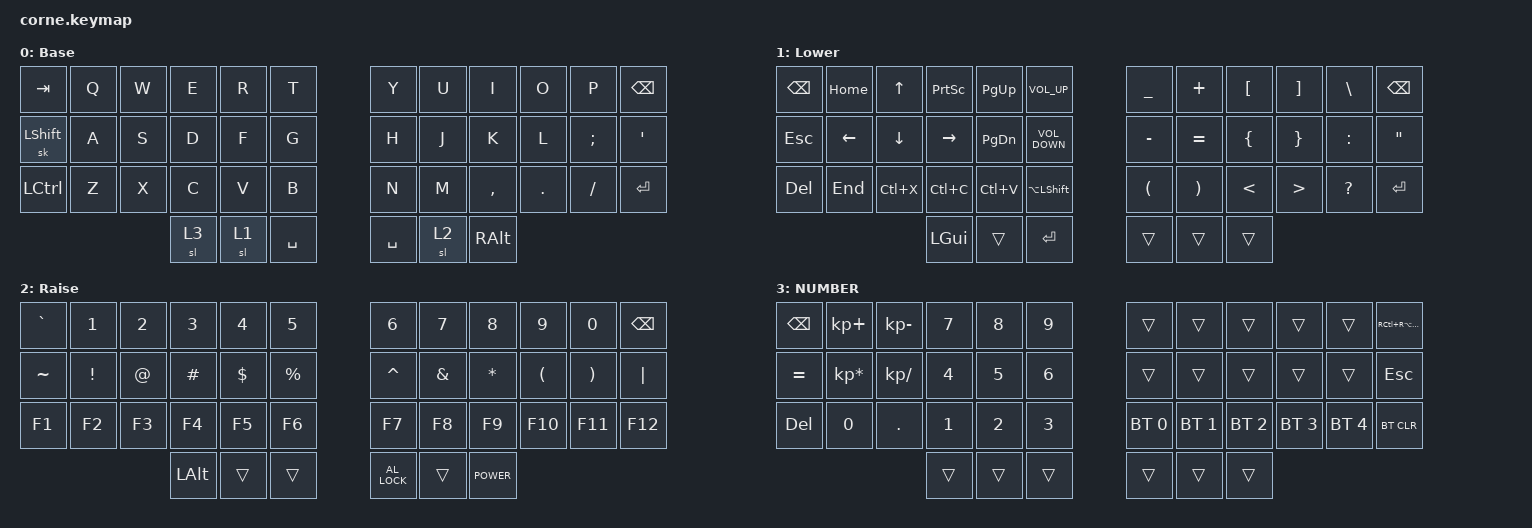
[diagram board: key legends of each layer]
/*
 * Copyright (c) 2020 The ZMK Contributors
 *
 * SPDX-License-Identifier: MIT
 */

#include <behaviors.dtsi>
#include <dt-bindings/zmk/bt.h>
#include <dt-bindings/zmk/keys.h>

/ {
    keymap {
        compatible = "zmk,keymap";

        DEFAULT {
            // -----------------------------------------------------------------------------------------
            // |  TAB |  Q  |  W  |  E  |  R  |  T  |   |  Y  |  U   |  I  |  O  |  P  | BKSP |
            // | CTRL |  A  |  S  |  D  |  F  |  G  |   |  H  |  J   |  K  |  L  |  ;  |  '   |
            // | SHFT |  Z  |  X  |  C  |  V  |  B  |   |  N  |  M   |  ,  |  .  |  /  | ESC  |
            //                    | GUI | LWR | SPC |   | ENT | RSE  | ALT |

            label = "Base";
            bindings = <
&kp TAB    &kp Q  &kp W  &kp E  &kp R  &kp T        &kp Y      &kp U  &kp I      &kp O    &kp P     &kp BSPC
&sk LSHFT  &kp A  &kp S  &kp D  &kp F  &kp G        &kp H      &kp J  &kp K      &kp L    &kp SEMI  &kp SQT
&kp LCTRL  &kp Z  &kp X  &kp C  &kp V  &kp B        &kp N      &kp M  &kp COMMA  &kp DOT  &kp FSLH  &kp ENTER
                         &sl 3  &sl 1  &kp SPACE    &kp SPACE  &sl 2  &kp RALT
            >;
        };

        CHARACTER {
            // -----------------------------------------------------------------------------------------
            // |  TAB |  1  |  2  |  3  |  4  |  5  |   |  6  |  7  |  8  |  9  |  0  | BKSP |
            // | BTCLR| BT1 | BT2 | BT3 | BT4 | BT5 |   | LFT | DWN |  UP | RGT |     |      |
            // | SHFT |     |     |     |     |     |   |     |     |     |     |     |      |
            //                    | GUI |     | SPC |   | ENT |     | ALT |

            label = "Lower";
            bindings = <
&kp BACKSPACE  &kp HOME  &kp UP     &kp PSCRN  &kp PAGE_UP    &kp C_VOLUME_UP      &kp UNDER  &kp PLUS   &kp LBKT  &kp RBKT  &kp BSLH      &kp BSPC
&kp ESC        &kp LEFT  &kp DOWN   &kp RIGHT  &kp PAGE_DOWN  &kp C_VOLUME_DOWN    &kp MINUS  &kp EQUAL  &kp LBRC  &kp RBRC  &kp COLON     &kp DQT
&kp DEL        &kp END   &kp LC(X)  &kp LC(C)  &kp LC(V)      &kp LA(LSHFT)        &kp LPAR   &kp RPAR   &kp LT    &kp GT    &kp QUESTION  &kp ENTER
                                    &kp LGUI   &trans         &kp ENTER            &trans     &trans     &trans
            >;
        };

        SYMBOL {
            // -----------------------------------------------------------------------------------------
            // |  TAB |  !  |  @  |  #  |  $  |  %  |   |  ^  |  &  |  *  |  (  |  )  | BKSP |
            // | CTRL |     |     |     |     |     |   |  -  |  =  |  [  |  ]  |  \  |  `   |
            // | SHFT |     |     |     |     |     |   |  _  |  +  |  {  |  }  | "|" |  ~   |
            //                    | GUI |     | SPC |   | ENT |     | ALT |

            label = "Raise";
            bindings = <
&kp GRAVE  &kp N1    &kp N2  &kp N3        &kp N4    &kp N5       &kp N6         &kp N7    &kp N8       &kp N9    &kp N0    &kp BSPC
&kp TILDE  &kp EXCL  &kp AT  &kp HASH      &kp DLLR  &kp PRCNT    &kp CARET      &kp AMPS  &kp ASTRK    &kp LPAR  &kp RPAR  &kp PIPE
&kp F1     &kp F2    &kp F3  &kp F4        &kp F5    &kp F6       &kp F7         &kp F8    &kp F9       &kp F10   &kp F11   &kp F12
                             &kp LEFT_ALT  &trans    &trans       &kp C_AL_LOCK  &trans    &kp C_POWER
            >;
        };

        NUMBER {
            bindings = <
&kp BACKSPACE  &kp KP_PLUS      &kp KP_SUBTRACT  &kp N7        &kp N8  &kp N9    &trans        &trans        &trans        &trans        &trans        &kp RC(RA(DEL))
&kp EQUAL      &kp KP_MULTIPLY  &kp KP_DIVIDE    &kp N4        &kp N5  &kp N6    &trans        &trans        &trans        &trans        &trans        &kp ESCAPE
&kp DEL        &kp N0           &kp DOT          &kp NUMBER_1  &kp N2  &kp N3    &bt BT_SEL 0  &bt BT_SEL 1  &bt BT_SEL 2  &bt BT_SEL 3  &bt BT_SEL 4  &bt BT_CLR
                                                 &trans        &trans  &trans    &trans        &trans        &trans
            >;
        };
    };
};
